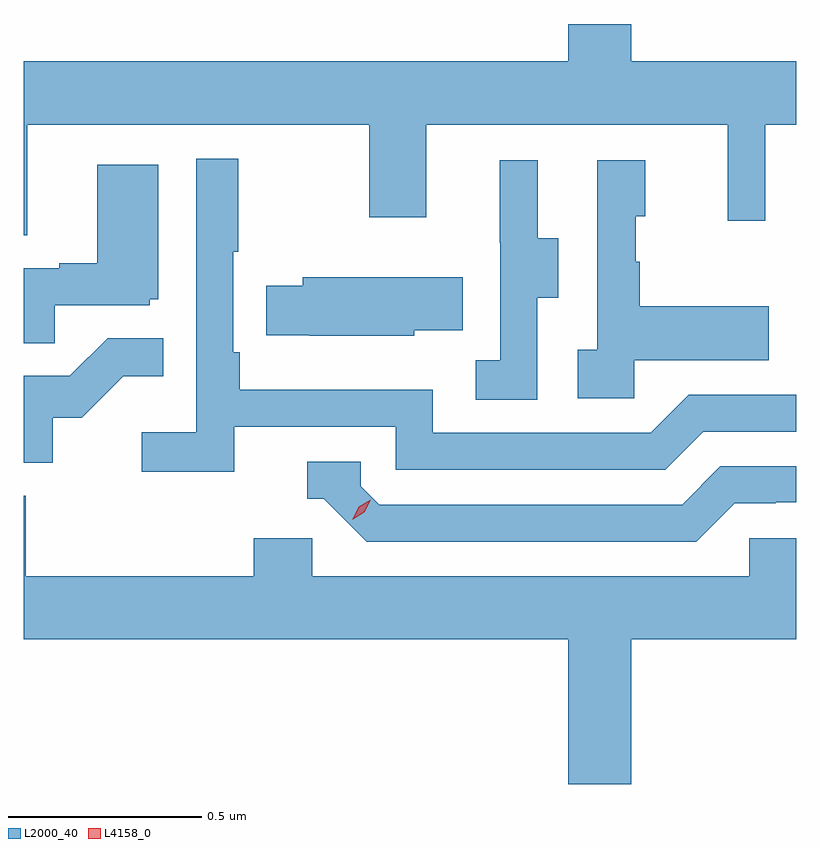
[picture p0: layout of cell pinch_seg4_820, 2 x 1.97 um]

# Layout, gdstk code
import gdstk
lib = gdstk.Library(unit=1e-6, precision=1e-09)
def P(c, l, *ps):  # polygons
    for p in ps: c.add(gdstk.Polygon(p, *l))
L2000_40 = (2000, 40)
L4158_0 = (4158, 0)

pinch_seg4_820 = lib.new_cell('pinch_seg4_820')
P(pinch_seg4_820, L2000_40, [(798.973,808.808),(799.858,808.808),(799.858,808.569),(800.005,808.569),(800.005,808.808),(800.786,808.808),(800.786,808.56),(800.883,808.56),(800.883,808.808),(800.963,808.808),(800.963,808.972),(800.536,808.972),(800.536,809.069),(800.372,809.069),(800.372,808.972),(798.963,808.972),(798.963,808.522),(798.973,808.522)],
  [(799.508,808.026),(799.926,808.026),(799.926,807.915),(800.623,807.915),(800.722,808.014),(800.963,808.014),(800.963,808.11),(800.685,808.11),(800.586,808.011),(800.022,808.011),(800.022,808.123),(799.523,808.123),(799.523,808.219),(799.506,808.219),(799.506,808.48),(799.519,808.48),(799.519,808.72),(799.41,808.72),(799.41,808.012),(799.269,808.012),(799.269,807.91),(799.508,807.91)],
  [(800.292,808.36),(800.347,808.36),(800.347,808.515),(800.293,808.515),(800.293,808.717),(800.195,808.717),(800.195,808.503),(800.196,808.503),(800.196,808.199),(800.133,808.199),(800.133,808.096),(800.292,808.096)],
  [(800.544,808.199),(800.891,808.199),(800.891,808.339),(800.557,808.339),(800.557,808.454),(800.547,808.454),(800.547,808.572),(800.572,808.572),(800.572,808.717),(800.448,808.717),(800.448,808.226),(800.397,808.226),(800.397,808.101),(800.544,808.101)],
  [(799.043,808.341),(799.29,808.341),(799.29,808.356),(799.312,808.356),(799.312,808.705),(799.154,808.705),(799.154,808.45),(799.055,808.45),(799.055,808.437),(798.963,808.437),(798.963,808.243),(799.043,808.243)],
  [(799.974,808.277),(800.099,808.277),(800.099,808.414),(799.685,808.414),(799.685,808.392),(799.591,808.392),(799.591,808.263),(799.702,808.263),(799.702,808.262),(799.974,808.262)],
  [(799.038,808.05),(799.114,808.05),(799.221,808.157),(799.325,808.157),(799.325,808.256),(799.181,808.256),(799.083,808.158),(798.963,808.158),(798.963,807.933),(799.038,807.933)],
  [(800.803,807.828),(800.91,807.828),(800.91,807.831),(800.963,807.831),(800.963,807.924),(800.766,807.924),(800.667,807.825),(799.884,807.825),(799.836,807.873),(799.836,807.936),(799.697,807.936),(799.697,807.84),(799.74,807.84),(799.851,807.729),(800.704,807.729)],
  [(800.536,807.476),(800.963,807.476),(800.963,807.738),(800.841,807.738),(800.841,807.64),(799.71,807.64),(799.71,807.738),(799.559,807.738),(799.559,807.64),(798.968,807.64),(798.968,807.848),(798.963,807.848),(798.963,807.476),(800.372,807.476),(800.372,807.102),(800.536,807.102)])
P(pinch_seg4_820, L4158_0, [(799.814,807.786),(799.814,807.786),(799.83,807.819),(799.861,807.838),(799.861,807.838),(799.861,807.838),(799.845,807.805),(799.814,807.786)])

lib.write_gds('pinch_seg4_820.gds')
